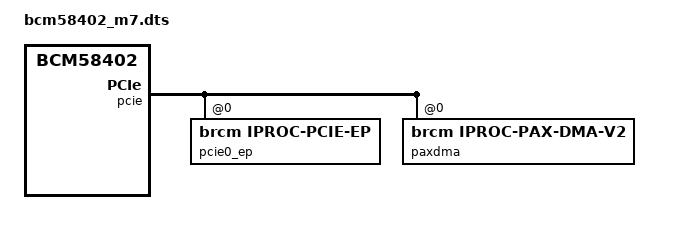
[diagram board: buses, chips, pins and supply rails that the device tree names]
/dts-v1/;

/ {
	#address-cells = < 0x1 >;
	#size-cells = < 0x1 >;
	chosen {
	};
	aliases {
	};
	soc {
		#address-cells = < 0x1 >;
		#size-cells = < 0x1 >;
		compatible = "simple-bus";
		interrupt-parent = < &nvic >;
		ranges;
		nvic: interrupt-controller@e000e100 {
			#address-cells = < 0x1 >;
			compatible = "arm,v7m-nvic";
			reg = < 0xe000e100 0xc00 >;
			interrupt-controller;
			#interrupt-cells = < 0x2 >;
			arm,num-irq-priority-bits = < 0x3 >;
			phandle = < 0x1 >;
		};
		systick: timer@e000e010 {
			compatible = "arm,armv7m-systick";
			reg = < 0xe000e010 0x10 >;
		};
		sram0: memory@400000 {
			device_type = "memory";
			reg = < 0x400000 0x80000 >;
		};
		uart0: uart@40020000 {
			compatible = "ns16550";
			reg = < 0x40020000 0x400 >;
			clock-frequency = < 0x17d7840 >;
			reg-shift = < 0x2 >;
			status = "disabled";
			interrupts = < 0x1 0x3 >;
		};
		uart1: uart@48100000 {
			compatible = "ns16550";
			reg = < 0x48100000 0x400 >;
			clock-frequency = < 0x5f5e100 >;
			reg-shift = < 0x2 >;
			status = "disabled";
			interrupts = < 0xcb 0x3 >;
		};
		pl330: pl330@48300000 {
			compatible = "arm,dma-pl330";
			reg = < 0x48300000 0x2000 >, < 0x482f005c 0x20 >;
			reg-names = "pl330_regs", "control_regs";
			microcode = < 0x63b00000 0x1000 >;
			dma-channels = < 0x8 >;
			#dma-cells = < 0x1 >;
			phandle = < 0x2 >;
		};
	};
	pcie {
		#address-cells = < 0x2 >;
		#size-cells = < 0x2 >;
		pcie0_ep: pcie@4e100000 {
			compatible = "brcm,iproc-pcie-ep";
			reg = < 0x0 0x4e100000 0x0 0x2100 >, < 0x0 0x50000000 0x0 0x8000000 >, < 0x4 0x0 0x0 0x8000000 >;
			reg-names = "iproc_pcie_regs", "map_lowmem", "map_highmem";
			dmas = < &pl330 0x0 >, < &pl330 0x1 >;
			dma-names = "txdma", "rxdma";
			interrupt-parent = < &nvic >;
			interrupts = < 0x2c 0x3 >, < 0x2e 0x3 >, < 0x62 0x3 >, < 0x63 0x3 >, < 0xd7 0x3 >;
			interrupt-names = "perst", "perst_inband", "flr", "snoop_irq1", "pcie_pmon_lite";
			phandle = < 0x3 >;
		};
		paxdma: paxdma@4e100800 {
			compatible = "brcm,iproc-pax-dma-v2";
			reg = < 0x0 0x4e100800 0x0 0x2100 >, < 0x0 0x4f000000 0x0 0x200000 >, < 0x0 0x4f200000 0x0 0x10000 >;
			reg-names = "dme_regs", "rm_ring_regs", "rm_comm_regs";
			dma-channels = < 0x4 >;
			#dma-cells = < 0x1 >;
			bd-memory = < 0x63b00000 0x100000 >;
			scr-addr-loc = < 0x200061f0 >;
			scr-size-loc = < 0x200061f8 >;
			pcie-ep = < &pcie0_ep >;
			interrupt-parent = < &nvic >;
			interrupts = < 0xe4 0x3 >;
		};
	};
	cpus {
		#address-cells = < 0x1 >;
		#size-cells = < 0x0 >;
		cpu@0 {
			device_type = "cpu";
			compatible = "arm,cortex-m7";
			reg = < 0x0 >;
			#address-cells = < 0x1 >;
			#size-cells = < 0x1 >;
			mpu: mpu@e000ed90 {
				compatible = "arm,armv7m-mpu";
				reg = < 0xe000ed90 0x40 >;
				arm,num-mpu-regions = < 0x10 >;
			};
		};
	};
};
